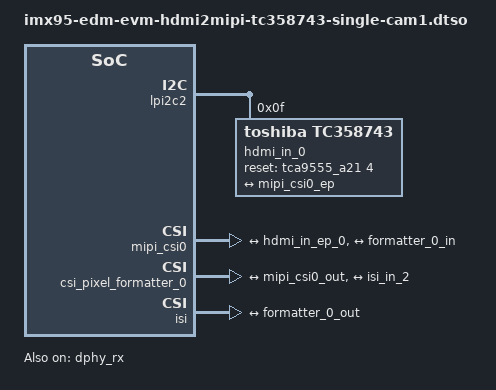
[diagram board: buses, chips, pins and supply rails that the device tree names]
// SPDX-License-Identifier: (GPL-2.0 OR MIT)
/*
 * Copyright 2026 TechNexion Ltd.
 *
 * Author: Jimmy Yi <jimmy.yi@technexion.com>
 *
 */

/******************************************************************************

USAGE NOTES:

This overlay is to enable a VizionLink HDMI board connected into the CAMERA1
slot of the EVM baseboard.

It enables the TC358743 device and logically connects it into the MIPI-CSI of
the i.MX95 SOC.

This overlay can be included by configuring the 'dtoverlay' in u-boot to
include "hdmi2mipi-tc358743-single-cam1":

setenv dtoverlay ${dtoverlay} hdmi2mipi-tc358743-single-cam1
saveenv

*****************************************************************************/

/dts-v1/;
/plugin/;

//#include <dt-bindings/interrupt-controller/irq.h>
#include <dt-bindings/gpio/gpio.h>

/* tc358743 on CSI0 */
&lpi2c2 {
    #address-cells = <1>;
    #size-cells = <0>;
    status = "okay";

    hdmi_in_0: tc358743@f {
        compatible = "toshiba,tc358743";
        reg = <0x0f>;
        reset-gpios = <&tca9555_a21 4 GPIO_ACTIVE_HIGH>;
        status = "okay";

        port {
            hdmi_in_ep_0: endpoint {
                remote-endpoint = <&mipi_csi0_ep>;
                data-lanes = <1 2 3 4>;
                clock-lanes = <0>;
                clock-noncontinuous;
                link-frequencies = /bits/ 64 <297000000>;
            };
        };
    };
};

&dphy_rx {
    status = "okay";
};

&mipi_csi0 {
    status = "okay";

    ports {
        #address-cells = <1>;
        #size-cells = <0>;

        port@0 {
            reg = <0>;
            mipi_csi0_ep: endpoint {
                remote-endpoint = <&hdmi_in_ep_0>;
                data-lanes = <1 2 3 4>;
                clock-lanes = <0>;
            };
        };

        port@1 {
            reg = <1>;
            mipi_csi0_out: endpoint {
                remote-endpoint = <&formatter_0_in>;
            };
        };
    };
};

&csi_pixel_formatter_0 {
    status = "okay";

    ports {
        #address-cells = <1>;
        #size-cells = <0>;

        port@0 {
            reg = <0>;

            formatter_0_in: endpoint {
                remote-endpoint = <&mipi_csi0_out>;
            };
        };

        port@1 {
            reg = <1>;

            formatter_0_out: endpoint {
                remote-endpoint = <&isi_in_2>;
            };
        };
    };
};

&isi {
    status = "okay";

    ports {
        #address-cells = <1>;
        #size-cells = <0>;

        port@2 {
            reg = <2>;

            isi_in_2: endpoint {
                remote-endpoint = <&formatter_0_out>;
            };
        };
    };
};

&{/} {
    sound-tc358743 {
        compatible = "nxp,imx-audio-tc358743", "nxp,imx-tc358743";
        cpu-dai = <&sai5>;
        nxp,audio-codec = <&hdmi_in_0>;
        status = "okay";
    };
};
